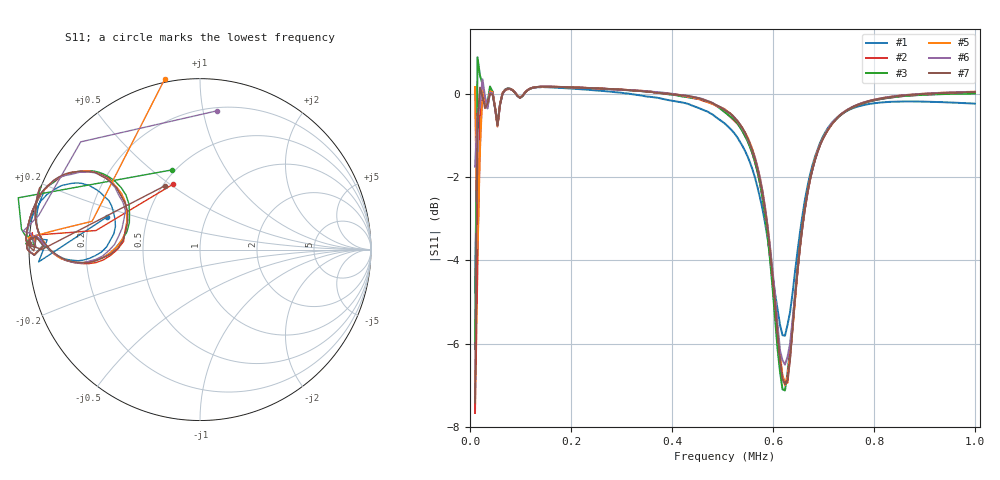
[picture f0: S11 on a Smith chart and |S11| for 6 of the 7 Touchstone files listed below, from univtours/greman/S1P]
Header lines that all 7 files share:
!Agilent Technologies,E5071C,MY46109397,A.09.54
!Data & Calibration Information:
!Freq	S11:SOLT1(ON)
# Hz S RI R 50
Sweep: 9 kHz to 1 MHz
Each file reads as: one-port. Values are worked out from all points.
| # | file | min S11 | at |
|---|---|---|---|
| 1 | CHAFF SOUS TENSION.S1P | -5.8 dB | 623.4 kHz |
| 2 | IMP RESEAU +  VENTILATEUR VITESSE 1 S1P.S1P | -7.7 dB | 9 kHz |
| 3 | IMP RESEAU +  VENTILATEUR VITESSE 2 S1P.S1P | -7.1 dB | 623.4 kHz |
| 4 | IMP RESEAU +  VENTILATEUR VITESSE 3S1P.S1P | -7.1 dB | 623.4 kHz |
| 5 | IMP RESEAU ZOOM.S1P | -7.0 dB | 623.4 kHz |
| 6 | IMP RESEAU.S1P | -6.5 dB | 623.4 kHz |
| 7 | LAMP SOUS TENSION.S1P | -7.4 dB | 9 kHz |
